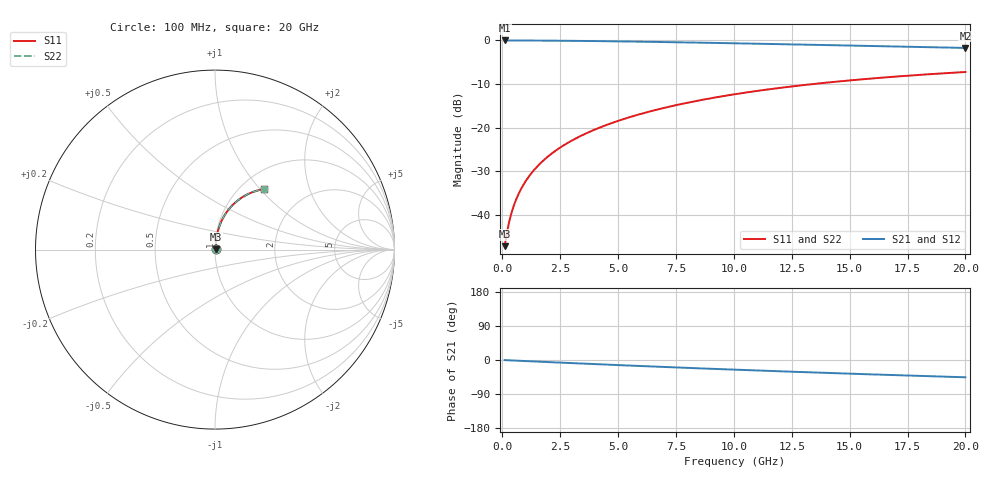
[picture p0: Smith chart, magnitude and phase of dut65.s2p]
! Touchstone file exported from HFSS 2024.1.0
!  File:  C:/UserFiles/LocalFiles/RDL_TSV_Batchsim/temp_RDL_top_65_1778681877.aedt
!  Generated:  10:20:16 PM May 13, 2026
!  Design:  RDL_top
!  Project:  temp_RDL_top_65_1778681877
!  Setup:  Setup1
!  Solution:  Sweep
! Variables:
!  dtsv = 10.80580581um
!  hbump = 3um
!  htsv = 79.46um
!  ldown = 100um
!  lrdl = 615.71um
!  p = 40
!  p1 = 54.36um
!  rhole = 1um
!  t = 450um
!  tdown = 3.915915916um
!  trdl = 3.23um
!  wdown = 15.38538539um
!  wrdl = 19.9um
# GHz S MA R 50.000000
! Terminal data exported
! Port[1] = Box2_T1
! Port[2] = Box2_T2
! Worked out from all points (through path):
!   200 points, 100 MHz to 20 GHz, reference 50 ohm
!   highest |S21| = -0.03 dB at 100 MHz (marker M1); lowest = -1.7 dB at 20 GHz (marker M2)
!   group delay of S21, straight-line fit = 6.3 ps
!   lowest |S11| = -47.2 dB at 100 MHz (marker M3), VSWR 1.01, Z = 50.4 + j0.255 ohm
!   |S11| at or under -10 dB: start of sweep to 13.46 GHz
!   |S22| runs from -47.2 to -7.3 dB; largest |S21 - S12| = 3.2e-15
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0.1  0.004376 35.3  0.9964 -0.3  0.9964 -0.3  0.004376 35.3
! Gamma 0 0 0 0
! Port Impedance 50 0 50 0
0.2  0.006229 53.5  0.9963 -0.6  0.9963 -0.6  0.006229 53.5
0.3  0.008368 62.4  0.9961 -0.9  0.9961 -0.9  0.008368 62.4
0.4  0.01058 67.5  0.9959 -1.1  0.9959 -1.1  0.01058 67.5
0.5  0.0128 70.8  0.9957 -1.4  0.9957 -1.4  0.0128 70.8
0.6  0.01504 73.2  0.9955 -1.7  0.9955 -1.7  0.01504 73.2
0.8  0.01955 76.3  0.9951 -2.2  0.9951 -2.2  0.01955 76.3
1.1  0.02638 79.0  0.9944 -3.1  0.9944 -3.1  0.02638 79.0
1.3  0.03097 80.1  0.9939 -3.6  0.9939 -3.6  0.03097 80.1
1.6  0.03792 81.1  0.993 -4.4  0.993 -4.4  0.03792 81.1
2.1  0.04961 82.0  0.9911 -5.8  0.9911 -5.8  0.04961 82.0
2.7  0.06379 82.2  0.9884 -7.4  0.9884 -7.4  0.06378 82.2
3.5  0.08293 81.8  0.9838 -9.5  0.9838 -9.5  0.08292 81.8
4.2  0.09986 81.2  0.9791 -11.4  0.9791 -11.4  0.09984 81.2
5  0.1194 80.1  0.973 -13.5  0.973 -13.5  0.1193 80.1
5.9  0.1414 78.7  0.9655 -15.7  0.9655 -15.7  0.1414 78.7
6.8  0.1635 77.2  0.9573 -17.9  0.9573 -17.9  0.1634 77.2
8.4  0.2023 74.1  0.9417 -21.8  0.9417 -21.8  0.2023 74.1
10.1  0.2425 70.7  0.9242 -25.7  0.9242 -25.7  0.2424 70.6
13.4  0.315 63.8  0.8888 -32.8  0.8888 -32.8  0.3149 63.8
16.7  0.3789 57.2  0.853 -39.4  0.853 -39.4  0.3787 57.2
20  0.4335 51.1  0.818 -45.6  0.818 -45.6  0.4332 51.1
